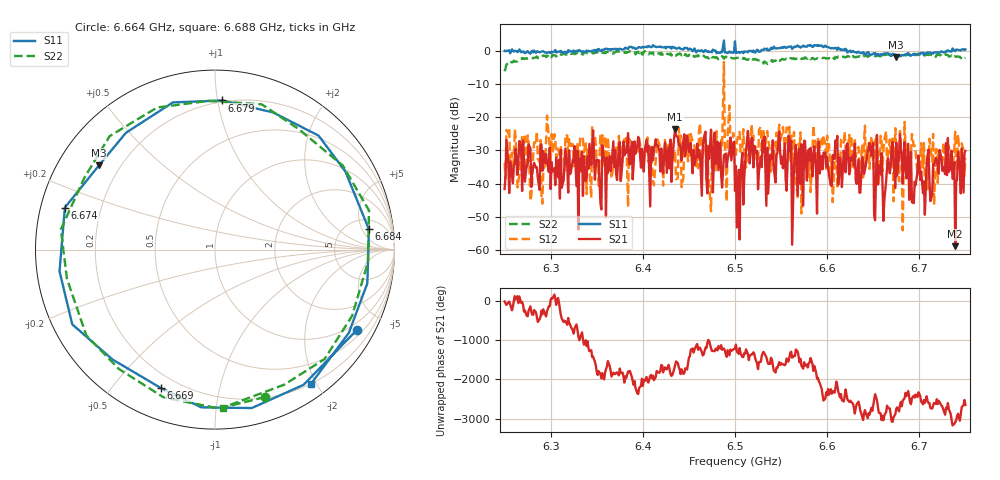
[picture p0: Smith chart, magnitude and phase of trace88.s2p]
# Hz S RI R 50
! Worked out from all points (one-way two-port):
!   401 points, 6.25 GHz to 6.75 GHz, reference 50 ohm
!   highest |S21| = -23.58 dB at 6.435 GHz (marker M1); lowest = -58.8 dB at 6.739 GHz (marker M2)
!   lowest |S11| = -2.0 dB at 6.675 GHz (marker M3), VSWR 8.94, Z = 6.17 + j16 ohm
!   |S11| at or under -10 dB: nowhere
!   |S22| runs from -6.2 to -0.1 dB; largest |S21 - S12| = 0.67
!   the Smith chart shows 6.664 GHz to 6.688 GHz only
!   S11 on the Smith chart (normalised r, x): 6.664 GHz: 0.72, -3.69; 6.669 GHz: 0.14, -0.67; 6.674 GHz: 0.07, +0.14; 6.679 GHz: 0.19, +1.03; 6.684 GHz: 8, +7; 6.688 GHz: 0.20, -1.93
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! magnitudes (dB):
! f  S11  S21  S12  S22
! 6.25 GHz  -0.1  -41.6  -33.8  -6.2
! 6.334 GHz  -0.3  -30.4  -25.8  -1.1
! 6.418 GHz  1.1  -30.1  -28.3  -0.8
! 6.435 GHz  0.9  -23.6  -30.2  -1.4
! 6.5 GHz  2.8  -42.2  -30.7  -2.4
! 6.508 GHz  -0.4  -30.7  -28.9  -2.4
! 6.516 GHz  -0.1  -33.9  -31.6  -2.8
! 6.565 GHz  1.2  -32.1  -31.9  -2.6
! 6.584 GHz  1.1  -37.9  -30.8  -2.2
! 6.634 GHz  -0.3  -32.7  -28.9  -1.9
! 6.648 GHz  -1.2  -31.5  -25.8  -1.7
! 6.664 GHz  -0.8  -39.2  -24.2  -1.2
! 6.668 GHz  -1.1  -36.9  -26.8  -1.4
! 6.669 GHz  -1.6  -34.6  -31.8  -1.3
! 6.674 GHz  -1.2  -41.3  -23.3  -1.3
! 6.675 GHz  -2.0  -27.7  -29.1  -1.4
! 6.679 GHz  -1.6  -25.1  -24.2  -1.7
! 6.684 GHz  -1.3  -27.5  -21.4  -1.4
! 6.688 GHz  -0.7  -28.0  -35.5  -1.1
! 6.731 GHz  0.1  -26.3  -33.0  -1.3
! 6.739 GHz  -0.2  -58.8  -24.4  -1.8
! 6.75 GHz  0.3  -30.2  -32.3  -2.2
